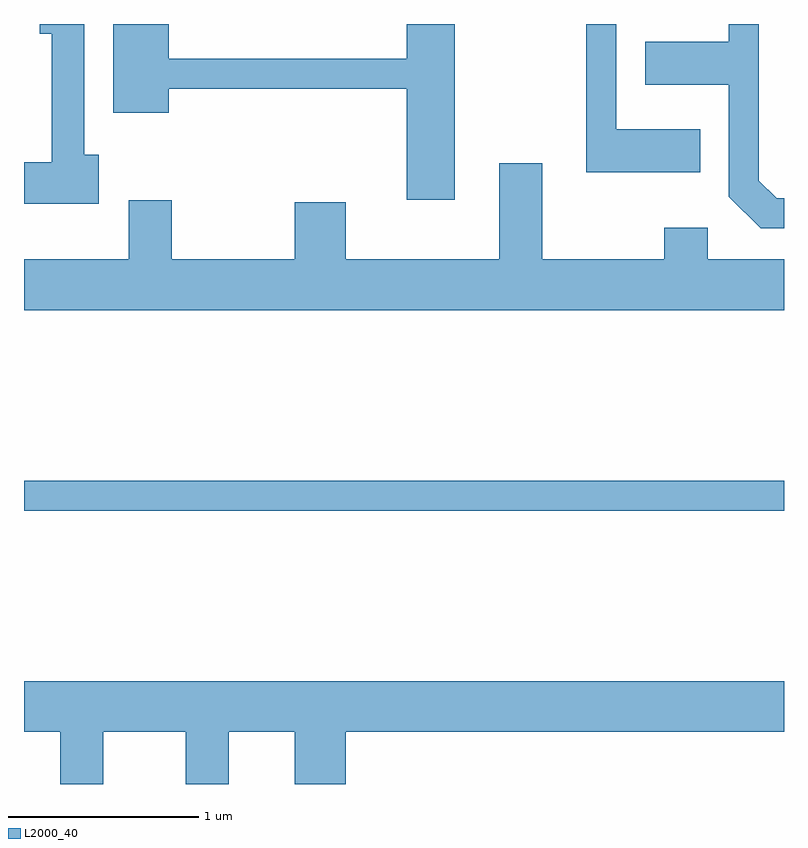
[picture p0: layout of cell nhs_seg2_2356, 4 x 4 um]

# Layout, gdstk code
import gdstk
lib = gdstk.Library(unit=1e-6, precision=1e-09)
def R(c, l, rs):  # rectangles x0, y0, x1, y1
    for r in rs: c.add(gdstk.rectangle(r[:2], r[2:], *l))
def P(c, l, *ps):  # polygons
    for p in ps: c.add(gdstk.Polygon(p, *l))
L2000_40 = (2000, 40)

nhs_seg2_2356 = lib.new_cell('nhs_seg2_2356')
R(nhs_seg2_2356, L2000_40, [(253.611,1067.241,257.611,1067.399)])
P(nhs_seg2_2356, L2000_40, [(257.611,1068.884),(257.572,1068.884),(257.479,1068.977),(257.479,1069.802),(257.321,1069.802),(257.321,1069.709),(256.881,1069.709),(256.881,1069.481),(257.321,1069.481),(257.321,1068.894),(257.489,1068.726),(257.611,1068.726)],
  [(255.879,1069.802),(255.626,1069.802),(255.626,1069.619),(254.374,1069.619),(254.374,1069.802),(254.081,1069.802),(254.081,1069.336),(254.374,1069.336),(254.374,1069.461),(255.626,1069.461),(255.626,1068.876),(255.879,1068.876)],
  [(257.169,1069.249),(256.729,1069.249),(256.729,1069.802),(256.571,1069.802),(256.571,1069.021),(257.169,1069.021)],
  [(254.004,1069.114),(253.929,1069.114),(253.929,1069.802),(253.693,1069.802),(253.693,1069.751),(253.756,1069.751),(253.756,1069.074),(253.611,1069.074),(253.611,1068.856),(254.004,1068.856)],
  [(257.611,1068.564),(257.209,1068.564),(257.209,1068.729),(256.981,1068.729),(256.981,1068.564),(256.339,1068.564),(256.339,1069.069),(256.111,1069.069),(256.111,1068.564),(255.304,1068.564),(255.304,1068.864),(255.036,1068.864),(255.036,1068.564),(254.389,1068.564),(254.389,1068.874),(254.161,1068.874),(254.161,1068.564),(253.611,1068.564),(253.611,1068.296),(257.611,1068.296)],
  [(254.029,1066.076),(254.461,1066.076),(254.461,1065.802),(254.689,1065.802),(254.689,1066.076),(255.036,1066.076),(255.036,1065.802),(255.304,1065.802),(255.304,1066.076),(257.611,1066.076),(257.611,1066.344),(253.611,1066.344),(253.611,1066.076),(253.801,1066.076),(253.801,1065.802),(254.029,1065.802)])

lib.write_gds('nhs_seg2_2356.gds')
